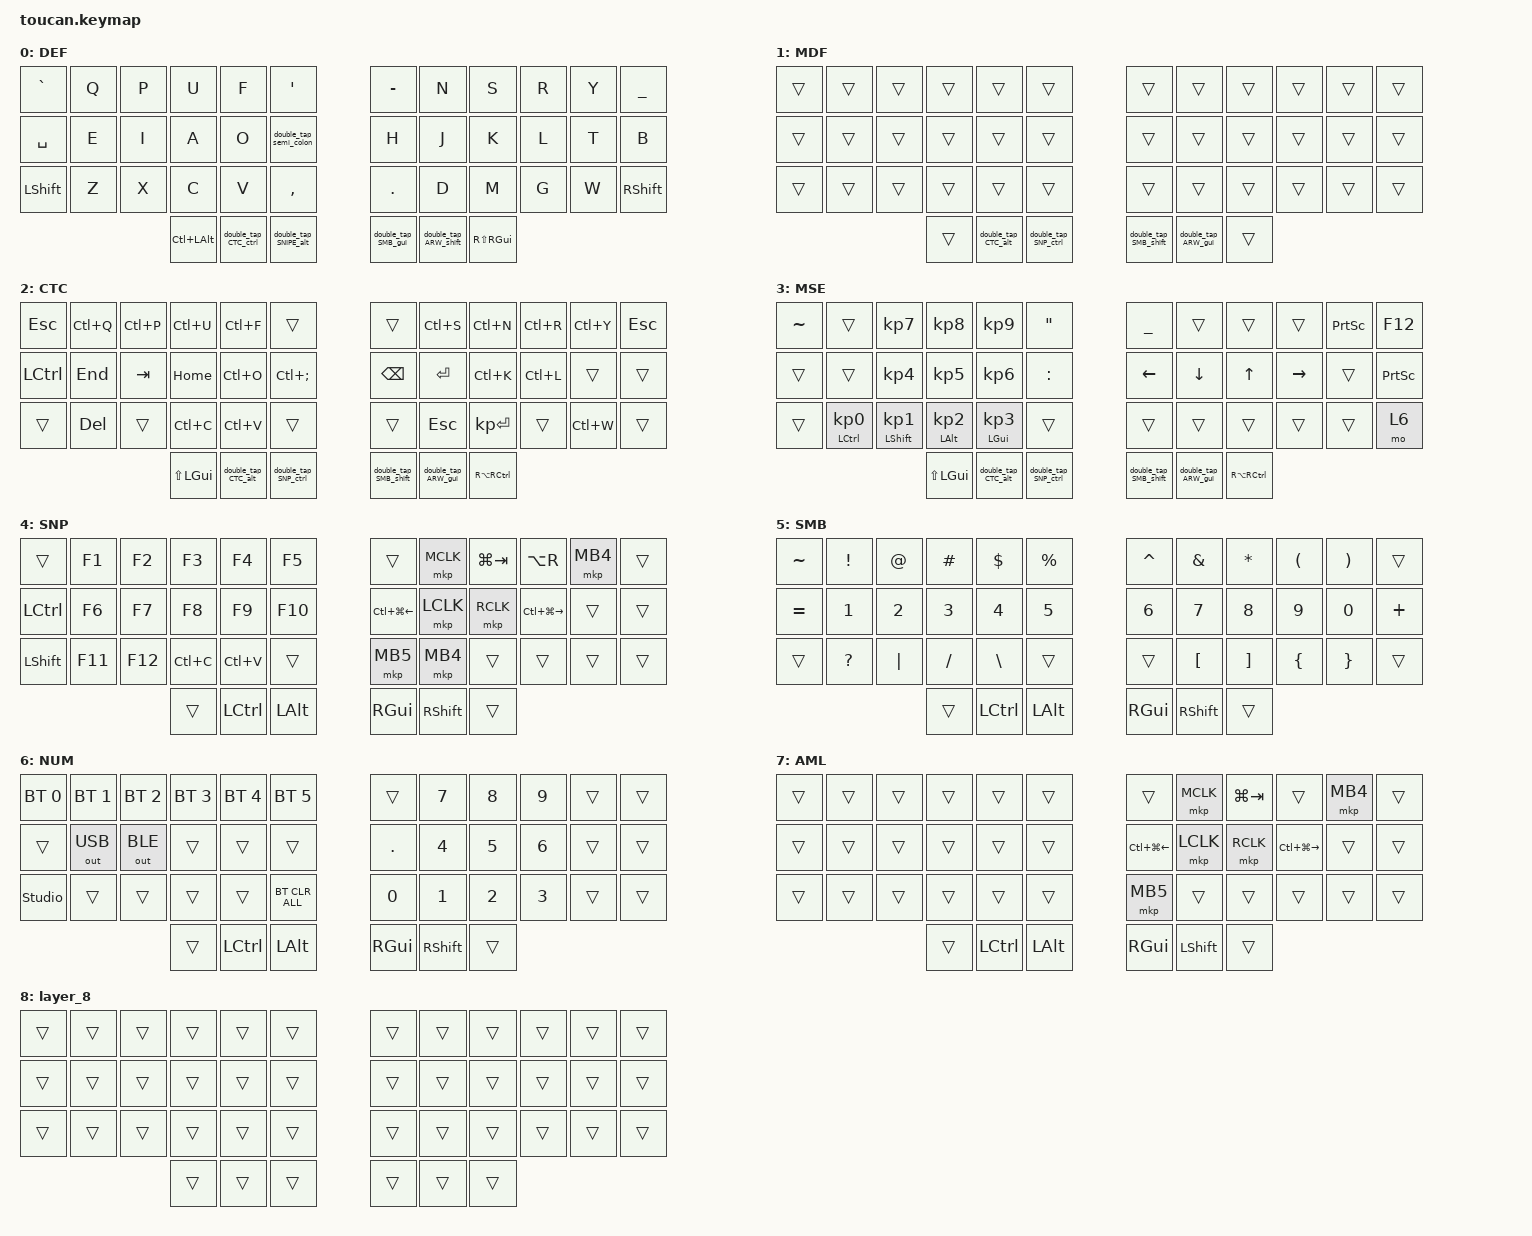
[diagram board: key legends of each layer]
#include <behaviors.dtsi>
#include <dt-bindings/zmk/bt.h>
#include <dt-bindings/zmk/keys.h>
#include <dt-bindings/zmk/outputs.h>
#include <dt-bindings/zmk/pointing.h>
#include <axis-constrain.dtsi>

// Layers mirror zmk-config-mtk64 (same indices) on the shared (3x6 + 3) x 2 keys.
// RA(RIGHT_CONTROL) stands for mtk64's RC(RIGHT_ALT): RC() collides with the matrix-transform macro.
// Temporary trackpad setup: no layer switch on touch; one-finger scroll while CTC (2) is held;
// slow, horizontal/vertical-only pointer while SNP (4) is held.

&zip_axis_constrain {
    axis-lock-threshold = <10>;
    axis-tolerance-deg = <30>;
};

&trackpad_listener {
    input-processors =
        <&zip_xy_scaler 100 100>,
        <&zip_scroll_scaler 1 20>,
        <&zip_zoom_mapper>,
        <&swipe_button_mapper>;

    scroller { layers = <2>; };

    // process-next keeps zoom and swipe gestures working on the SNP layer.
    cardinal_snipe {
        layers = <4>;
        input-processors = <&zip_axis_constrain>, <&zip_xy_scaler 1 5>;
        process-next;
    };
};

/ {
    behaviors {
        double_tap_semi_colon: double_tap_semi_colon {
            compatible = "zmk,behavior-tap-dance";
            #binding-cells = <0>;
            bindings = <&kp SEMICOLON>, <&kp COLON>;
        };

        // The same key (Press the modifier key on the layer after moving)

        double_tap_CTC_ctrl: double_tap_CTC_ctrl {
            compatible = "zmk,behavior-tap-dance";
            #binding-cells = <0>;
            bindings = <&mo 2>, <&CTC_ctrl>;
        };

        double_tap_ARW_shift: double_tap_ARW_shift {
            compatible = "zmk,behavior-tap-dance";
            #binding-cells = <0>;
            bindings = <&mo 3>, <&ARW_shift>;
        };

        double_tap_SNIPE_alt: double_tap_SNIPE_alt {
            compatible = "zmk,behavior-tap-dance";
            #binding-cells = <0>;
            bindings = <&mo 4>, <&SNP_alt>;
        };

        double_tap_SMB_gui: double_tap_SMB_gui {
            compatible = "zmk,behavior-tap-dance";
            #binding-cells = <0>;
            bindings = <&mo 5>, <&SMB_gui>;
        };

        // The same finger (Press the modifier key on the same hand after moving the layer)

        double_tap_SNP_ctrl: double_tap_SNP_ctrl {
            compatible = "zmk,behavior-tap-dance";
            #binding-cells = <0>;
            bindings = <&kp LEFT_ALT>, <&SNP_ctrl>;
        };

        double_tap_SMB_shift: double_tap_SMB_shift {
            compatible = "zmk,behavior-tap-dance";
            #binding-cells = <0>;
            bindings = <&kp RIGHT_GUI>, <&SMB_shift>;
        };

        double_tap_CTC_alt: double_tap_CTC_alt {
            compatible = "zmk,behavior-tap-dance";
            #binding-cells = <0>;
            bindings = <&kp LCTRL>, <&CTC_alt>;
        };

        double_tap_ARW_gui: double_tap_ARW_gui {
            compatible = "zmk,behavior-tap-dance";
            #binding-cells = <0>;
            bindings = <&kp RIGHT_SHIFT>, <&ARW_gui>;
        };
    };
};

/ {
    combos {
        compatible = "zmk,combos";

        muhenkan {
            bindings = <&kp INT_MUHENKAN>;
            key-positions = <16 17>;
        };

        henkan {
            bindings = <&kp INT_HENKAN>;
            key-positions = <18 19>;
        };

        ctrl_shift {
            bindings = <&kp LC(RIGHT_SHIFT)>;
            key-positions = <36 41>;
        };

        ctrl_gui {
            bindings = <&kp LC(RIGHT_GUI)>;
            key-positions = <36 40>;
        };

        alt_gui {
            bindings = <&kp LA(RIGHT_GUI)>;
            key-positions = <37 40>;
        };

        alt_shift {
            bindings = <&kp LA(RIGHT_SHIFT)>;
            key-positions = <37 41>;
        };
    };

    macros {
        CTC_ctrl: CTC_ctrl {
            compatible = "zmk,behavior-macro";
            #binding-cells = <0>;
            bindings =
                <&macro_press>,
                <&mo 2 &kp LEFT_CONTROL>,
                <&macro_pause_for_release>,
                <&macro_release>,
                <&mo 2 &kp LEFT_CONTROL>;
        };

        ARW_shift: ARW_shift {
            compatible = "zmk,behavior-macro";
            #binding-cells = <0>;
            bindings =
                <&macro_press>,
                <&mo 3 &kp RIGHT_SHIFT>,
                <&macro_pause_for_release>,
                <&macro_release>,
                <&mo 3 &kp RIGHT_SHIFT>;
        };

        SNP_alt: SNP_alt {
            compatible = "zmk,behavior-macro";
            #binding-cells = <0>;
            bindings =
                <&macro_press>,
                <&mo 4 &kp LEFT_ALT>,
                <&macro_pause_for_release>,
                <&macro_release>,
                <&mo 4 &kp LEFT_ALT>;
        };

        SMB_gui: SMB_gui {
            compatible = "zmk,behavior-macro";
            #binding-cells = <0>;
            bindings =
                <&macro_press>,
                <&mo 5 &kp RIGHT_GUI>,
                <&macro_pause_for_release>,
                <&macro_release>,
                <&mo 5 &kp RIGHT_GUI>;
        };

        SNP_ctrl: SNP_ctrl {
            compatible = "zmk,behavior-macro";
            #binding-cells = <0>;
            bindings =
                <&macro_press>,
                <&mo 4 &kp LEFT_CONTROL>,
                <&macro_pause_for_release>,
                <&macro_release>,
                <&mo 4 &kp LEFT_CONTROL>;
        };

        SMB_shift: SMB_shift {
            compatible = "zmk,behavior-macro";
            #binding-cells = <0>;
            bindings =
                <&macro_press>,
                <&mo 5 &kp RIGHT_SHIFT>,
                <&macro_pause_for_release>,
                <&macro_release>,
                <&mo 5 &kp RIGHT_SHIFT>;
        };

        CTC_alt: CTC_alt {
            compatible = "zmk,behavior-macro";
            #binding-cells = <0>;
            bindings =
                <&macro_press>,
                <&mo 2 &kp LEFT_ALT>,
                <&macro_pause_for_release>,
                <&macro_release>,
                <&mo 2 &kp LEFT_ALT>;
        };

        ARW_gui: ARW_gui {
            compatible = "zmk,behavior-macro";
            #binding-cells = <0>;
            bindings =
                <&macro_press>,
                <&mo 3 &kp RIGHT_GUI>,
                <&macro_pause_for_release>,
                <&macro_release>,
                <&mo 3 &kp RIGHT_GUI>;
        };
    };

    keymap {
        compatible = "zmk,keymap";

        default_layer {
            display-name = "DEF";
            bindings = <
&kp GRAVE       &kp Q  &kp P  &kp U             &kp F                 &kp SINGLE_QUOTE        &kp MINUS            &kp N                  &kp S              &kp R  &kp Y  &kp UNDERSCORE
&kp SPACE       &kp E  &kp I  &kp A             &kp O                 &double_tap_semi_colon  &kp H                &kp J                  &kp K              &kp L  &kp T  &kp B
&kp LEFT_SHIFT  &kp Z  &kp X  &kp C             &kp V                 &kp COMMA               &kp PERIOD           &kp D                  &kp M              &kp G  &kp W  &kp RIGHT_SHIFT
                              &kp LC(LEFT_ALT)  &double_tap_CTC_ctrl  &double_tap_SNIPE_alt   &double_tap_SMB_gui  &double_tap_ARW_shift  &kp RS(RIGHT_GUI)
            >;
        };

        modifiers {
            display-name = "MDF";
            bindings = <
&trans  &trans  &trans  &trans  &trans               &trans                &trans                 &trans               &trans  &trans  &trans  &trans
&trans  &trans  &trans  &trans  &trans               &trans                &trans                 &trans               &trans  &trans  &trans  &trans
&trans  &trans  &trans  &trans  &trans               &trans                &trans                 &trans               &trans  &trans  &trans  &trans
                        &trans  &double_tap_CTC_alt  &double_tap_SNP_ctrl  &double_tap_SMB_shift  &double_tap_ARW_gui  &trans
            >;
        };

        control_char {
            display-name = "CTC";
            bindings = <
&kp ESCAPE        &kp LC(Q)   &kp LC(P)  &kp LC(U)         &kp LC(F)            &trans                &trans                 &kp LC(S)            &kp LC(N)              &kp LC(R)  &kp LC(Y)  &kp ESCAPE
&kp LEFT_CONTROL  &kp END     &kp TAB    &kp HOME          &kp LC(O)            &kp LC(SEMICOLON)     &kp BACKSPACE          &kp ENTER            &kp LC(K)              &kp LC(L)  &trans     &trans
&trans            &kp DELETE  &trans     &kp LC(C)         &kp LC(V)            &trans                &trans                 &kp ESCAPE           &kp KP_ENTER           &trans     &kp LC(W)  &trans
                                         &kp LS(LEFT_GUI)  &double_tap_CTC_alt  &double_tap_SNP_ctrl  &double_tap_SMB_shift  &double_tap_ARW_gui  &kp RA(RIGHT_CONTROL)
            >;
        };

        arrow {
            display-name = "MSE";
            bindings = <
&kp TILDE  &trans                        &kp KP_NUMBER_7             &kp KP_NUMBER_8           &kp KP_NUMBER_9           &kp DOUBLE_QUOTES     &kp UNDERSCORE         &trans               &trans                 &trans           &kp PRINTSCREEN  &kp F12
&trans     &trans                        &kp KP_NUMBER_4             &kp KP_NUMBER_5           &kp KP_NUMBER_6           &kp COLON             &kp LEFT_ARROW         &kp DOWN_ARROW       &kp UP_ARROW           &kp RIGHT_ARROW  &trans           &kp PRINTSCREEN
&trans     &mt LEFT_CONTROL KP_NUMBER_0  &mt LEFT_SHIFT KP_NUMBER_1  &mt LEFT_ALT KP_NUMBER_2  &mt LEFT_GUI KP_NUMBER_3  &trans                &trans                 &trans               &trans                 &trans           &trans           &mo 6
                                                                     &kp LS(LEFT_GUI)          &double_tap_CTC_alt       &double_tap_SNP_ctrl  &double_tap_SMB_shift  &double_tap_ARW_gui  &kp RA(RIGHT_CONTROL)
            >;
        };

        snipe {
            display-name = "SNP";
            bindings = <
&trans            &kp F1   &kp F2   &kp F3     &kp F4            &kp F5        &trans                  &mkp MCLK        &kp LG(TAB)  &kp LA(R)                &mkp MB4  &trans
&kp LEFT_CONTROL  &kp F6   &kp F7   &kp F8     &kp F9            &kp F10       &kp LC(LG(LEFT_ARROW))  &mkp LCLK        &mkp RCLK    &kp LC(LG(RIGHT_ARROW))  &trans    &trans
&kp LEFT_SHIFT    &kp F11  &kp F12  &kp LC(C)  &kp LC(V)         &trans        &mkp MB5                &mkp MB4         &trans       &trans                   &trans    &trans
                                    &trans     &kp LEFT_CONTROL  &kp LEFT_ALT  &kp RIGHT_GUI           &kp RIGHT_SHIFT  &trans
            >;
        };

        symbols {
            display-name = "SMB";
            bindings = <
&kp TILDE  &kp EXCLAMATION  &kp AT_SIGN   &kp HASH      &kp DOLLAR        &kp PERCENT   &kp CARET      &kp AMPERSAND     &kp ASTERISK       &kp LEFT_PARENTHESIS  &kp RIGHT_PARENTHESIS  &trans
&kp EQUAL  &kp NUMBER_1     &kp NUMBER_2  &kp NUMBER_3  &kp NUMBER_4      &kp NUMBER_5  &kp NUMBER_6   &kp NUMBER_7      &kp NUMBER_8       &kp NUMBER_9          &kp NUMBER_0           &kp PLUS
&trans     &kp QUESTION     &kp PIPE      &kp SLASH     &kp BACKSLASH     &trans        &trans         &kp LEFT_BRACKET  &kp RIGHT_BRACKET  &kp LEFT_BRACE        &kp RIGHT_BRACE        &trans
                                          &trans        &kp LEFT_CONTROL  &kp LEFT_ALT  &kp RIGHT_GUI  &kp RIGHT_SHIFT   &trans
            >;
        };

        numbers {
            display-name = "NUM";
            bindings = <
&bt BT_SEL 0    &bt BT_SEL 1  &bt BT_SEL 2  &bt BT_SEL 3  &bt BT_SEL 4      &bt BT_SEL 5    &trans         &kp NUMBER_7     &kp NUMBER_8  &kp NUMBER_9  &trans  &trans
&trans          &out OUT_USB  &out OUT_BLE  &trans        &trans            &trans          &kp PERIOD     &kp NUMBER_4     &kp NUMBER_5  &kp NUMBER_6  &trans  &trans
&studio_unlock  &trans        &trans        &trans        &trans            &bt BT_CLR_ALL  &kp NUMBER_0   &kp NUMBER_1     &kp NUMBER_2  &kp NUMBER_3  &trans  &trans
                                            &trans        &kp LEFT_CONTROL  &kp LEFT_ALT    &kp RIGHT_GUI  &kp RIGHT_SHIFT  &trans
            >;
        };

        automouse {
            display-name = "AML";
            bindings = <
&trans  &trans  &trans  &trans  &trans            &trans        &trans                  &mkp MCLK       &kp LG(TAB)  &trans                   &mkp MB4  &trans
&trans  &trans  &trans  &trans  &trans            &trans        &kp LC(LG(LEFT_ARROW))  &mkp LCLK       &mkp RCLK    &kp LC(LG(RIGHT_ARROW))  &trans    &trans
&trans  &trans  &trans  &trans  &trans            &trans        &mkp MB5                &trans          &trans       &trans                   &trans    &trans
                        &trans  &kp LEFT_CONTROL  &kp LEFT_ALT  &kp RIGHT_GUI           &kp LEFT_SHIFT  &trans
            >;
        };

        layer_8 {
            bindings = <
&trans  &trans  &trans  &trans  &trans  &trans  &trans  &trans  &trans  &trans  &trans  &trans
&trans  &trans  &trans  &trans  &trans  &trans  &trans  &trans  &trans  &trans  &trans  &trans
&trans  &trans  &trans  &trans  &trans  &trans  &trans  &trans  &trans  &trans  &trans  &trans
                        &trans  &trans  &trans  &trans  &trans  &trans
            >;
        };

        extra_2 { status = "reserved"; };

        extra_3 { status = "reserved"; };
    };
};
